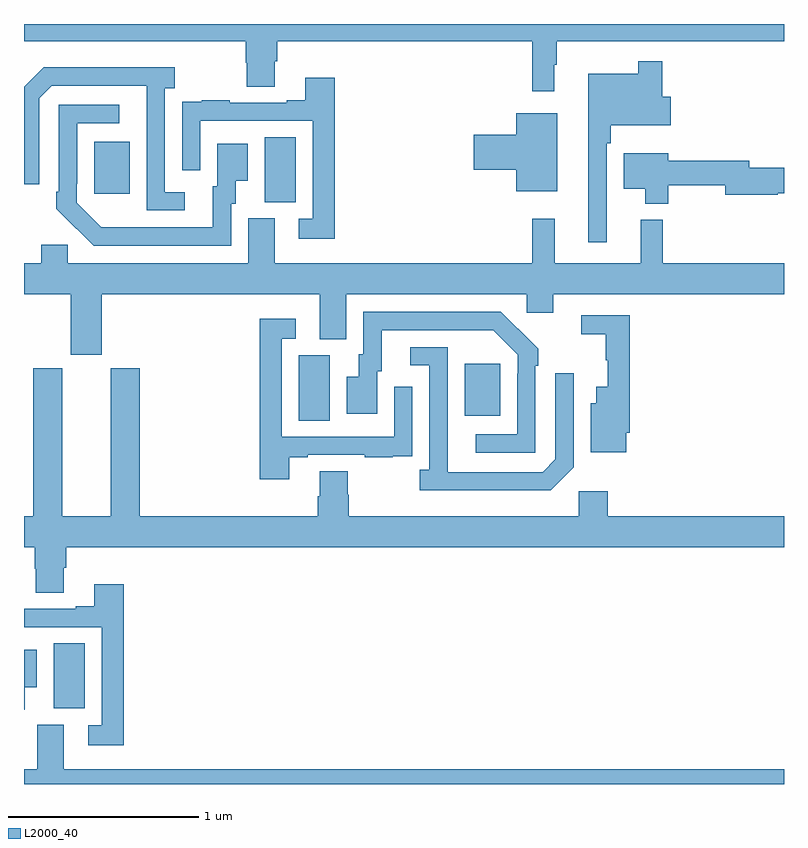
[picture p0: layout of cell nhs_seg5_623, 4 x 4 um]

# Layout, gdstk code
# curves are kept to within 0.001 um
import gdstk
lib = gdstk.Library(unit=1e-6, precision=1e-09)
def R(c, l, rs):  # rectangles x0, y0, x1, y1
    for r in rs: c.add(gdstk.rectangle(r[:2], r[2:], *l))
def P(c, l, *ps):  # polygons
    for p in ps: c.add(gdstk.Polygon(p, *l))
L2000_40 = (2000, 40)

nhs_seg5_623 = lib.new_cell('nhs_seg5_623')
R(nhs_seg5_623, L2000_40, [(149.156,905.197,149.32,905.54), (150.446,906.712,150.61,907.056), (151.319,906.737,151.507,907.012), (150.266,907.861,150.43,908.204), (149.369,907.905,149.557,908.179)])
P(nhs_seg5_623, L2000_40, [(153,908.799),(149,908.799),(149,908.708),(150.167,908.708),(150.167,908.595),(150.172,908.595),(150.172,908.47),(150.319,908.47),(150.319,908.602),(150.332,908.602),(150.332,908.708),(151.675,908.708),(151.675,908.445),(151.792,908.445),(151.792,908.585),(151.804,908.585),(151.804,908.708),(153,908.708)],
  [(152.067,908.171),(152.087,908.171),(152.087,908.267),(152.404,908.267),(152.404,908.415),(152.36,908.415),(152.36,908.602),(152.232,908.602),(152.232,908.536),(151.97,908.536),(151.97,907.65),(152.067,907.65)],
  [(149.845,907.914),(149.742,907.914),(149.742,908.462),(149.794,908.462),(149.794,908.572),(149.104,908.572),(149,908.468),(149,907.956),(149.079,907.956),(149.079,908.409),(149.145,908.475),(149.645,908.475),(149.646,907.818),(149.845,907.818)],
  [(150.635,908.515),(150.479,908.515),(150.479,908.398),(150.383,908.398),(150.383,908.385),(150.083,908.385),(150.083,908.398),(149.935,908.398),(149.935,908.391),(149.833,908.391),(149.833,908.282),(149.832,908.282),(149.832,908.028),(149.928,908.028),(149.928,908.289),(150.519,908.289),(150.519,907.773),(150.447,907.773),(150.447,907.668),(150.635,907.668)],
  [(150.09,907.854),(150.115,907.854),(150.115,907.973),(150.178,907.973),(150.178,908.17),(150.017,908.17),(150.017,907.944),(149.993,907.944),(149.993,907.728),(149.406,907.729),(149.277,907.857),(149.277,907.957),(149.28,907.957),(149.28,908.277),(149.5,908.277),(149.5,908.373),(149.184,908.373),(149.184,907.915),(149.169,907.915),(149.169,907.827),(149.366,907.632),(150.09,907.632)],
  [(151.807,908.329),(151.592,908.329),(151.592,908.216),(151.368,908.216),(151.368,908.033),(151.592,908.033),(151.592,907.919),(151.807,907.919)],
  [(152.392,907.95),(152.69,907.95),(152.69,907.9),(152.966,907.9),(152.966,907.907),(153,907.907),(153,908.042),(152.818,908.042),(152.818,908.078),(152.392,908.078),(152.392,908.119),(152.156,908.119),(152.156,907.931),(152.27,907.931),(152.27,907.853),(152.392,907.853)],
  [(149.41,907.376),(150.557,907.376),(150.557,907.141),(150.697,907.141),(150.697,907.376),(151.647,907.376),(151.647,907.278),(151.786,907.278),(151.786,907.376),(153,907.376),(153,907.54),(152.363,907.54),(152.363,907.768),(152.246,907.768),(152.246,907.54),(151.793,907.54),(151.793,907.774),(151.675,907.774),(151.675,907.54),(150.319,907.54),(150.319,907.776),(150.179,907.776),(150.179,907.54),(149.229,907.54),(149.229,907.638),(149.09,907.638),(149.09,907.54),(149,907.54),(149,907.376),(149.246,907.376),(149.246,907.059),(149.41,907.059)],
  [(151.692,907.001),(151.707,907.001),(151.707,907.089),(151.51,907.284),(150.786,907.284),(150.786,907.062),(150.761,907.062),(150.761,906.943),(150.698,906.943),(150.698,906.747),(150.859,906.747),(150.859,906.972),(150.883,906.972),(150.883,907.188),(151.471,907.188),(151.599,907.059),(151.599,906.959),(151.596,906.959),(151.596,906.639),(151.377,906.639),(151.377,906.543),(151.692,906.543)],
  [(152.17,906.649),(152.189,906.649),(152.189,907.266),(151.932,907.266),(151.932,907.165),(152.061,907.165),(152.061,907.029),(152.072,907.029),(152.072,906.889),(152.012,906.889),(152.012,906.802),(151.982,906.802),(151.982,906.545),(152.17,906.545)],
  [(150.397,906.519),(150.493,906.519),(150.493,906.531),(150.793,906.531),(150.793,906.519),(150.941,906.519),(150.941,906.525),(151.043,906.525),(151.043,906.634),(151.044,906.634),(151.044,906.889),(150.948,906.889),(150.948,906.627),(150.357,906.627),(150.357,907.143),(150.43,907.143),(150.43,907.249),(150.241,907.249),(150.241,906.402),(150.397,906.402)],
  [(151.893,906.465),(151.893,906.961),(151.797,906.961),(151.797,906.507),(151.731,906.441),(151.231,906.441),(151.23,907.098),(151.032,907.098),(151.032,907.002),(151.134,907.002),(151.134,906.454),(151.083,906.454),(151.083,906.344),(151.772,906.344)],
  [(149.209,905.938),(149.222,905.938),(149.222,906.044),(153,906.044),(153,906.208),(152.072,906.208),(152.072,906.34),(151.92,906.34),(151.92,906.208),(150.71,906.208),(150.71,906.321),(150.705,906.321),(150.705,906.446),(150.557,906.446),(150.557,906.314),(150.545,906.314),(150.545,906.208),(149.609,906.208),(149.609,906.987),(149.456,906.987),(149.456,906.208),(149.2,906.208),(149.2,906.987),(149.048,906.987),(149.048,906.208),(149,906.208),(149,906.044),(149.057,906.044),(149.057,905.931),(149.062,905.931),(149.062,905.806),(149.209,905.806)],
  [(149.525,905.851),(149.369,905.851),(149.369,905.734),(149.273,905.734),(149.273,905.721),(149,905.721),(149,905.625),(149.409,905.625),(149.409,905.109),(149.337,905.109),(149.337,905.004),(149.525,905.004)],
  [(149.005,905.309),(149.068,905.309),(149.068,905.506),(149,905.506),(149,905.19),(149.005,905.19)],
  [(153,904.876),(149.209,904.876),(149.209,905.112),(149.069,905.112),(149.069,904.876),(149,904.876),(149,904.799),(153,904.799)])

lib.write_gds('nhs_seg5_623.gds')
